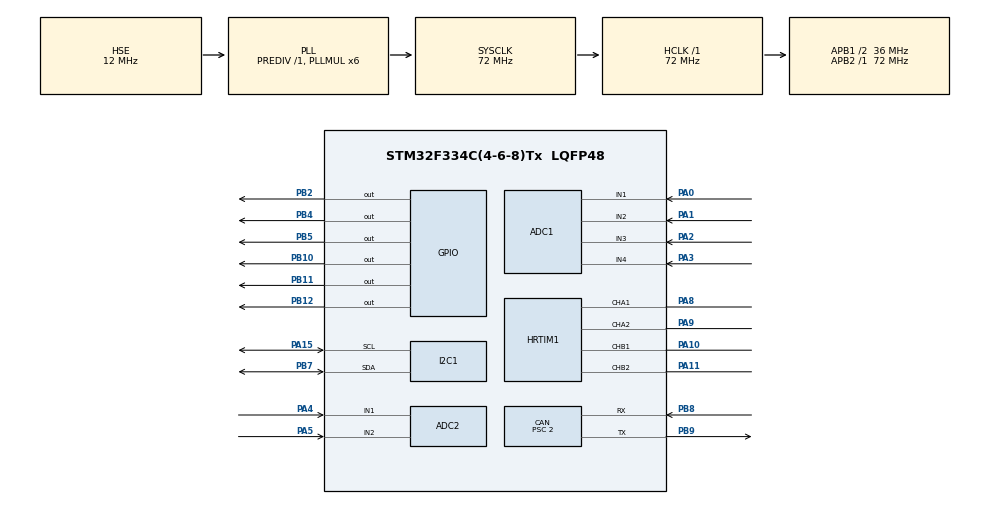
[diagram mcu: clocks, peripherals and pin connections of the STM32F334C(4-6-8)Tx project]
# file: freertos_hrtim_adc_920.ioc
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ADC1.Channel-0\#ChannelRegularConversion=ADC_CHANNEL_1
ADC1.Channel-1\#ChannelRegularConversion=ADC_CHANNEL_2
ADC1.Channel-2\#ChannelRegularConversion=ADC_CHANNEL_3
ADC1.Channel-3\#ChannelRegularConversion=ADC_CHANNEL_4
ADC1.ClockPrescaler=ADC_CLOCK_SYNC_PCLK_DIV4
ADC1.ContinuousConvMode=DISABLE
ADC1.DMAContinuousRequests=ENABLE
ADC1.EOCSelection=ADC_EOC_SEQ_CONV
ADC1.EnableInjectedConversion=ENABLE
ADC1.ExternalTrigConv=ADC_EXTERNALTRIGCONVHRTIM_TRG1
ADC1.NbrOfConversion=4
ADC1.NbrOfConversionFlag=1
ADC1.Offset-0\#ChannelRegularConversion=0
ADC1.Offset-1\#ChannelRegularConversion=0
ADC1.Offset-2\#ChannelRegularConversion=0
ADC1.Offset-3\#ChannelRegularConversion=0
ADC1.OffsetNumber-0\#ChannelRegularConversion=ADC_OFFSET_NONE
ADC1.OffsetNumber-1\#ChannelRegularConversion=ADC_OFFSET_NONE
ADC1.OffsetNumber-2\#ChannelRegularConversion=ADC_OFFSET_NONE
ADC1.OffsetNumber-3\#ChannelRegularConversion=ADC_OFFSET_NONE
ADC1.Rank-0\#ChannelRegularConversion=1
ADC1.Rank-1\#ChannelRegularConversion=2
ADC1.Rank-2\#ChannelRegularConversion=3
ADC1.Rank-3\#ChannelRegularConversion=4
ADC1.SamplingTime-0\#ChannelRegularConversion=ADC_SAMPLETIME_4CYCLES_5
ADC1.SamplingTime-1\#ChannelRegularConversion=ADC_SAMPLETIME_4CYCLES_5
ADC1.SamplingTime-2\#ChannelRegularConversion=ADC_SAMPLETIME_4CYCLES_5
ADC1.SamplingTime-3\#ChannelRegularConversion=ADC_SAMPLETIME_4CYCLES_5
ADC1.SamplingTimeOPAMP-1\#ChannelRegularConversion=ADC_SAMPLETIME_61CYCLES_5
ADC1.SamplingTimeOPAMP-2\#ChannelRegularConversion=ADC_SAMPLETIME_61CYCLES_5
ADC1.SamplingTimeOPAMP-3\#ChannelRegularConversion=ADC_SAMPLETIME_61CYCLES_5
ADC1.SubFamily=STM32F334x8
ADC1.master=1
ADC2.Channel-0\#ChannelRegularConversion=ADC_CHANNEL_1
ADC2.Channel-1\#ChannelRegularConversion=ADC_CHANNEL_2
ADC2.ClockPrescaler=ADC_CLOCK_SYNC_PCLK_DIV4
ADC2.DMAContinuousRequests=ENABLE
ADC2.EOCSelection=ADC_EOC_SEQ_CONV
ADC2.ExternalTrigConv=ADC_EXTERNALTRIGCONVHRTIM_TRG1
ADC2.NbrOfConversion=2
ADC2.NbrOfConversionFlag=1
ADC2.Offset-0\#ChannelRegularConversion=0
ADC2.Offset-1\#ChannelRegularConversion=0
ADC2.OffsetNumber-0\#ChannelRegularConversion=ADC_OFFSET_NONE
ADC2.OffsetNumber-1\#ChannelRegularConversion=ADC_OFFSET_NONE
ADC2.Rank-0\#ChannelRegularConversion=1
ADC2.Rank-1\#ChannelRegularConversion=2
ADC2.SamplingTime-0\#ChannelRegularConversion=ADC_SAMPLETIME_4CYCLES_5
ADC2.SamplingTime-1\#ChannelRegularConversion=ADC_SAMPLETIME_4CYCLES_5
ADC2.SamplingTimeOPAMP-1\#ChannelRegularConversion=ADC_SAMPLETIME_7CYCLES_5
ADC2.SubFamily=STM32F334x8
CAN.ABOM=DISABLE
CAN.BS1=CAN_BS1_9TQ
CAN.BS2=CAN_BS2_8TQ
CAN.CalculateBaudRate=1000000
CAN.CalculateTimeBit=1000
CAN.CalculateTimeQuantum=55.55555555555556
CAN.NART=DISABLE
CAN.Prescaler=2
CAN.TXFP=DISABLE
Dma.ADC1.0.Direction=DMA_PERIPH_TO_MEMORY
Dma.ADC1.0.Instance=DMA1_Channel1
Dma.ADC1.0.MemDataAlignment=DMA_MDATAALIGN_HALFWORD
Dma.ADC1.0.MemInc=DMA_MINC_ENABLE
Dma.ADC1.0.Mode=DMA_CIRCULAR
Dma.ADC1.0.PeriphDataAlignment=DMA_PDATAALIGN_HALFWORD
Dma.ADC1.0.PeriphInc=DMA_PINC_DISABLE
Dma.ADC1.0.Priority=DMA_PRIORITY_HIGH
Dma.ADC2.1.Direction=DMA_PERIPH_TO_MEMORY
Dma.ADC2.1.Instance=DMA1_Channel2
Dma.ADC2.1.MemDataAlignment=DMA_MDATAALIGN_HALFWORD
Dma.ADC2.1.MemInc=DMA_MINC_ENABLE
Dma.ADC2.1.Mode=DMA_CIRCULAR
Dma.ADC2.1.PeriphDataAlignment=DMA_PDATAALIGN_HALFWORD
Dma.ADC2.1.PeriphInc=DMA_PINC_DISABLE
Dma.ADC2.1.Priority=DMA_PRIORITY_HIGH
Dma.Request0=ADC1
Dma.Request1=ADC2
HRTIM1.ADCTrigger1_Source1=HRTIM_ADCTRIGGEREVENT13_TIMERA_CMP2
HRTIM1.ADCTrigger_Id1=HRTIM_ADCTRIGGER_1
HRTIM1.CompareUnit1-MasterTimer=HRTIM_COMPAREUNIT_1
HRTIM1.CompareUnit1-Output_TA1TA2=HRTIM_COMPAREUNIT_1
HRTIM1.CompareUnit1-Output_TB1TB2=HRTIM_COMPAREUNIT_1
HRTIM1.CompareUnit2-MasterTimer=HRTIM_COMPAREUNIT_2
HRTIM1.CompareUnit2-Output_TA1TA2=HRTIM_COMPAREUNIT_2
HRTIM1.CompareUnit3-MasterTimer=HRTIM_COMPAREUNIT_3
HRTIM1.CompareUnit3-Output_TA1TA2=HRTIM_COMPAREUNIT_3
HRTIM1.CompareUnit3-Output_TB1TB2=HRTIM_COMPAREUNIT_3
HRTIM1.CompareUnit4-MasterTimer=HRTIM_COMPAREUNIT_4
HRTIM1.CompareUnit4-Output_TA1TA2=__NULL
HRTIM1.CompareValue1-MasterTimer=12800
HRTIM1.CompareValue1-Output_TA1TA2=20000
HRTIM1.CompareValue1-Output_TB1TB2=20000
HRTIM1.CompareValue2-MasterTimer=12800
HRTIM1.CompareValue2-Output_TA1TA2=12800
HRTIM1.CompareValue3-MasterTimer=12800
HRTIM1.CompareValue3-Output_TA1TA2=10000
HRTIM1.CompareValue3-Output_TB1TB2=10000
HRTIM1.CompareValue4-MasterTimer=12800
HRTIM1.DeadTimeInsertion-Output_TA1TA2=HRTIM_TIMDEADTIMEINSERTION_ENABLED
HRTIM1.DeadTimeInsertion-Output_TB1TB2=HRTIM_TIMDEADTIMEINSERTION_ENABLED
HRTIM1.FallingValue-Output_TA1TA2=10
HRTIM1.FallingValue-Output_TB1TB2=10
HRTIM1.NumberADCTriggerSource1=1
HRTIM1.NumberResetSource1-Output_TA1TA2=1
HRTIM1.NumberResetSource1-Output_TB1TB2=1
HRTIM1.NumberResetTrigger-Output_TA1TA2=1
HRTIM1.NumberSetSource1-Output_TA1TA2=1
HRTIM1.NumberSetSource1-Output_TB1TB2=1
HRTIM1.NumberUpdateTrigger-Output_TA1TA2=0
HRTIM1.Periode_MASTER=25600
HRTIM1.Periode_TA=25600
HRTIM1.Periode_TB=25600
HRTIM1.PreloadEnable-MasterTimer=HRTIM_PRELOAD_ENABLED
HRTIM1.PreloadEnable-Output_TA1TA2=HRTIM_PRELOAD_ENABLED
HRTIM1.PreloadEnable-Output_TB1TB2=HRTIM_PRELOAD_ENABLED
HRTIM1.PrescalerDead-Output_TA1TA2=HRTIM_TIMDEADTIME_PRESCALERRATIO_MUL4
HRTIM1.PrescalerDead-Output_TB1TB2=HRTIM_TIMDEADTIME_PRESCALERRATIO_MUL4
HRTIM1.PrescalerRatio_TA=HRTIM_PRESCALERRATIO_MUL32
HRTIM1.RepetitionCounter-Output_TA1TA2=0
HRTIM1.RepetitionCounter-Output_TB1TB2=0
HRTIM1.RepetitionUpdate-MasterTimer=HRTIM_UPDATEONREPETITION_ENABLED
HRTIM1.RepetitionUpdate-Output_TA1TA2=HRTIM_UPDATEONREPETITION_ENABLED
HRTIM1.RepetitionUpdate-Output_TB1TB2=HRTIM_UPDATEONREPETITION_ENABLED
HRTIM1.ResetOutput1_Source1-Output_TA1TA2=HRTIM_OUTPUTRESET_MASTERCMP2
HRTIM1.ResetOutput1_Source1-Output_TB1TB2=HRTIM_OUTPUTRESET_MASTERCMP4
HRTIM1.ResetTrigger1-Output_TA1TA2=HRTIM_TIMRESETTRIGGER_MASTER_PER
HRTIM1.RisingValue-Output_TA1TA2=10
HRTIM1.RisingValue-Output_TB1TB2=10
HRTIM1.SetOutput1_Source1-Output_TA1TA2=HRTIM_OUTPUTSET_MASTERCMP1
HRTIM1.SetOutput1_Source1-Output_TB1TB2=HRTIM_OUTPUTSET_MASTERCMP3
Mcu.Family=STM32F3
Mcu.Name=STM32F334C(4-6-8)Tx
Mcu.Package=LQFP48
NVIC.CAN_RX0_IRQn=true\:0\:0\:false\:false\:true\:true\:true\:true
NVIC.HRTIM1_TIMA_IRQn=true\:1\:0\:true\:false\:true\:true\:true\:true
NVIC.PriorityGroup=NVIC_PRIORITYGROUP_4
NVIC.TIM3_IRQn=true\:2\:0\:true\:false\:true\:true\:true\:true
NVIC.TIM6_DAC1_IRQn=true\:0\:0\:false\:false\:true\:true\:true\:true
NVIC.TIM7_DAC2_IRQn=true\:0\:0\:false\:false\:true\:true\:true\:true
PA0.Mode=IN1-Single-Ended
PA0.Signal=ADC1_IN1
PA1.Mode=IN2-Single-Ended
PA1.Signal=ADC1_IN2
PA10.Mode=Output_TB1TB2
PA10.Signal=HRTIM1_CHB1
PA11.Mode=Output_TB1TB2
PA11.Signal=HRTIM1_CHB2
PA13.Mode=Serial_Wire
PA13.Signal=SYS_JTMS-SWDIO
PA14.Mode=Serial_Wire
PA14.Signal=SYS_JTCK-SWCLK
PA15.GPIO_Pu=GPIO_PULLUP
PA15.Mode=I2C
PA15.Signal=I2C1_SCL
PA2.Mode=IN3-Single-Ended
PA2.Signal=ADC1_IN3
PA3.Mode=IN4-Single-Ended
PA3.Signal=ADC1_IN4
PA4.Mode=IN1-Single-Ended
PA4.Signal=ADC2_IN1
PA5.Mode=IN2-Single-Ended
PA5.Signal=ADC2_IN2
PA8.Mode=Output_TA1TA2
PA8.Signal=HRTIM1_CHA1
PA9.Mode=Output_TA1TA2
PA9.Signal=HRTIM1_CHA2
PB10.Signal=GPIO_Output
PB11.Signal=GPIO_Output
PB12.Signal=GPIO_Output
PB2.Signal=GPIO_Output
PB4.Signal=GPIO_Output
PB5.Signal=GPIO_Output
PB7.GPIO_Pu=GPIO_PULLUP
PB7.Mode=I2C
PB7.Signal=I2C1_SDA
PB8.Mode=CAN_Activate
PB8.Signal=CAN_RX
PB9.Mode=CAN_Activate
PB9.Signal=CAN_TX
PF0\ /\ OSC_IN.Mode=HSE-External-Oscillator
PF0\ /\ OSC_IN.Signal=RCC_OSC_IN
PF1\ /\ OSC_OUT.Mode=HSE-External-Oscillator
PF1\ /\ OSC_OUT.Signal=RCC_OSC_OUT
ProjectManager.HeapSize=0x200
ProjectManager.StackSize=0x400
ProjectManager.TargetToolchain=MDK-ARM V5.32
RCC.AHBFreq_Value=72000000
RCC.APB1CLKDivider=RCC_HCLK_DIV2
RCC.APB1Freq_Value=36000000
RCC.APB1TimFreq_Value=72000000
RCC.APB2Freq_Value=72000000
RCC.APB2TimFreq_Value=72000000
RCC.CortexFreq_Value=72000000
RCC.HCLKFreq_Value=72000000
RCC.HRTIMSelection=RCC_HRTIM1CLK_PLLCLK
RCC.HSE_VALUE=12000000
RCC.HSI_VALUE=8000000
RCC.LSE_VALUE=32768
RCC.PLLMUL=RCC_PLL_MUL6
RCC.PLLSourceVirtual=RCC_PLLSOURCE_HSE
RCC.SYSCLKFreq_VALUE=72000000
RCC.SYSCLKSourceVirtual=RCC_SYSCLKSOURCE_PLLCLK
TIM3.Period=9999
TIM3.Prescaler=143
TIM6.AutoReloadPreload=TIM_AUTORELOAD_PRELOAD_ENABLE
TIM6.Period=19999
TIM6.Prescaler=719
TIM7.AutoReloadPreload=TIM_AUTORELOAD_PRELOAD_ENABLE
TIM7.Period=49
TIM7.Prescaler=71
VP_HRTIM1_VS_hrtimMasterTimerNoOutput.Mode=MasterTimer
VP_TIM3_VS_ClockSourceINT.Mode=Internal
VP_TIM3_VS_ClockSourceITR.Mode=TriggerSource_ITR0
VP_TIM6_VS_ClockSourceINT.Mode=Enable_Timer
VP_TIM7_VS_ClockSourceINT.Mode=Enable_Timer
board=custom

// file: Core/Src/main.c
/* USER CODE BEGIN Header */
/**
  ******************************************************************************
  * @file           : main.c
  * @brief          : Main program body
  ******************************************************************************
  * @attention
  *
  * Copyright (c) 2024 STMicroelectronics.
  * All rights reserved.
  *
  * This software is licensed under terms that can be found in the LICENSE file
  * in the root directory of this software component.
  * If no LICENSE file comes with this software, it is provided AS-IS.
  *
  ******************************************************************************
  */
/* USER CODE END Header */
#include "main.h"
#include "adc.h"
#include "can.h"
#include "dma.h"
#include "hrtim.h"
#include "i2c.h"
#include "tim.h"
#include "gpio.h"

/* USER CODE BEGIN Includes */
#include "bsp_adc.h"
#include "power_cal.h"

#include "bsp_can.h"

#include "oled.h"
/* USER CODE END Includes */

/* USER CODE BEGIN PTD */
int reset_flag=0;
void CAN1_Send_Test(void);
void CANFilter_Config(void);

int OLEDShowCnt=0;

extern uint8_t CAP_state;
extern void Send_Cap_Data(CAN_HandleTypeDef *_hcan, float Cap_Vol, float Power_3508, uint8_t state);
/* USER CODE END PTD */

void SystemClock_Config(void);

int main(void)
{

  /* MCU Configuration--------------------------------------------------------*/

  /* Reset of all peripherals, Initializes the Flash interface and the Systick. */
  HAL_Init();

  /* Configure the system clock */
  SystemClock_Config();

  /* Initialize all configured peripherals */
  MX_GPIO_Init();
  MX_DMA_Init();
  MX_HRTIM1_Init();
  MX_ADC1_Init();
  MX_ADC2_Init();
  MX_TIM3_Init();
  MX_CAN_Init();
  MX_TIM7_Init();
  MX_I2C1_Init();
  MX_TIM6_Init();
  /* USER CODE BEGIN 2 */
//	First_Order_Filter_Init(&I_WHEEL_Filter, 0.1, 0.25);
	//oled初始化
	HAL_GPIO_WritePin(GPIOB,GPIO_PIN_4,GPIO_PIN_SET);//charge
	HAL_GPIO_WritePin(GPIOB,GPIO_PIN_5,GPIO_PIN_SET);//outcharge
	HAL_GPIO_WritePin(GPIOB,GPIO_PIN_12,GPIO_PIN_SET);//wrong

	HAL_GPIO_WritePin(GPIOB,GPIO_PIN_2,GPIO_PIN_RESET);//RED
	HAL_GPIO_WritePin(GPIOB,GPIO_PIN_11,GPIO_PIN_RESET);//BLUE
	HAL_GPIO_WritePin(GPIOB,GPIO_PIN_10,GPIO_PIN_RESET);//GREEN
	MX_OLED_Init();

	//can初始化
	CANFilter_Config();
	HAL_CAN_Start(&hcan);
	HAL_CAN_ActivateNotification(&hcan, CAN_IT_RX_FIFO0_MSG_PENDING);

	//计算初始化
	CAL_INIT();

	//启动ADC1采样 DMA数据传送采样输入输出电压电流
	HAL_ADC_Start_DMA(&hadc1, (uint32_t*)ADC1_RESULT, 4);
	HAL_ADC_Start_DMA(&hadc2, (uint32_t*)ADC2_RESULT, 2);

	//开启HRTIM计数
	HAL_HRTIM_WaveformCounterStart(&hhrtim1, HRTIM_TIMERID_MASTER);
	HAL_HRTIM_WaveformCounterStart(&hhrtim1, HRTIM_TIMERID_TIMER_A);
	HAL_HRTIM_WaveformCounterStart(&hhrtim1, HRTIM_TIMERID_TIMER_B);

//
  HAL_HRTIM_WaveformOutputStart(&hhrtim1, HRTIM_OUTPUT_TA1|HRTIM_OUTPUT_TA2); //通道打开
  HAL_HRTIM_WaveformOutputStart(&hhrtim1, HRTIM_OUTPUT_TB1|HRTIM_OUTPUT_TB2); //通道打开

	__HAL_HRTIM_TIMER_ENABLE_IT(&hhrtim1,HRTIM_TIMERINDEX_TIMER_A,HRTIM_TIM_IT_REP);
  __HAL_HRTIM_TIMER_ENABLE_IT(&hhrtim1,HRTIM_TIMERINDEX_TIMER_B,HRTIM_TIM_IT_REP);
		HAL_TIM_Base_Start_IT(&htim3);//启动定时器 200Hz
		HAL_TIM_Base_Start_IT(&htim7);
    HAL_TIM_Base_Start_IT(&htim6);
  /* USER CODE END 2 */

  /* Infinite loop */
  /* USER CODE BEGIN WHILE */
  while (1)
  {
	if(cap_vol_h.output>=9.9f&&cap_vol_l.output>=9.9f&&inp_power.output>=9.9f)
	{
				reset_flag=1;
//   __set_FAULTMASK(1);//禁止所有的可屏蔽中断
//		NVIC_SystemReset();

	}

	if(OLEDShowCnt==2)
	{
		OLEDShowCnt=0;

	}

    /* USER CODE END WHILE */

  }
}

void SystemClock_Config(void)
{
  RCC_OscInitTypeDef RCC_OscInitStruct = {0};
  RCC_ClkInitTypeDef RCC_ClkInitStruct = {0};
  RCC_PeriphCLKInitTypeDef PeriphClkInit = {0};

  /** Initializes the RCC Oscillators according to the specified parameters
  * in the RCC_OscInitTypeDef structure.
  */
  RCC_OscInitStruct.OscillatorType = RCC_OSCILLATORTYPE_HSI|RCC_OSCILLATORTYPE_HSE;
  RCC_OscInitStruct.HSEState = RCC_HSE_ON;
  RCC_OscInitStruct.HSEPredivValue = RCC_HSE_PREDIV_DIV1;
  RCC_OscInitStruct.HSIState = RCC_HSI_ON;
  RCC_OscInitStruct.HSICalibrationValue = RCC_HSICALIBRATION_DEFAULT;
  RCC_OscInitStruct.PLL.PLLState = RCC_PLL_ON;
  RCC_OscInitStruct.PLL.PLLSource = RCC_PLLSOURCE_HSE;
  RCC_OscInitStruct.PLL.PLLMUL = RCC_PLL_MUL6;
  if (HAL_RCC_OscConfig(&RCC_OscInitStruct) != HAL_OK)
  {
    Error_Handler();
  }

  /** Initializes the CPU, AHB and APB buses clocks
  */
  RCC_ClkInitStruct.ClockType = RCC_CLOCKTYPE_HCLK|RCC_CLOCKTYPE_SYSCLK
                              |RCC_CLOCKTYPE_PCLK1|RCC_CLOCKTYPE_PCLK2;
  RCC_ClkInitStruct.SYSCLKSource = RCC_SYSCLKSOURCE_PLLCLK;
  RCC_ClkInitStruct.AHBCLKDivider = RCC_SYSCLK_DIV1;
  RCC_ClkInitStruct.APB1CLKDivider = RCC_HCLK_DIV2;
  RCC_ClkInitStruct.APB2CLKDivider = RCC_HCLK_DIV1;

  if (HAL_RCC_ClockConfig(&RCC_ClkInitStruct, FLASH_LATENCY_2) != HAL_OK)
  {
    Error_Handler();
  }
  PeriphClkInit.PeriphClockSelection = RCC_PERIPHCLK_HRTIM1|RCC_PERIPHCLK_I2C1;
  PeriphClkInit.I2c1ClockSelection = RCC_I2C1CLKSOURCE_HSI;
  PeriphClkInit.Hrtim1ClockSelection = RCC_HRTIM1CLK_PLLCLK;
  if (HAL_RCCEx_PeriphCLKConfig(&PeriphClkInit) != HAL_OK)
  {
    Error_Handler();
  }
}

/* USER CODE BEGIN 4 */
void HAL_TIM_PeriodElapsedCallback(TIM_HandleTypeDef *htim)
{
	if(htim==&htim3)
	{
//		CAN1_Send_Test();
		Send_Cap_Data(&hcan, V_OUT, 0,  CAP_state);

	}
	if(htim == &htim7)
	{
		 ADCSample();
     Ctrloop();
		 LED_state_check();
	}
	if(htim==&htim6)
	{
//		OLEDShowCnt++;
	}
}
/* USER CODE END 4 */

void Error_Handler(void)
{
  __disable_irq();
  while (1)
  {
  }
}
